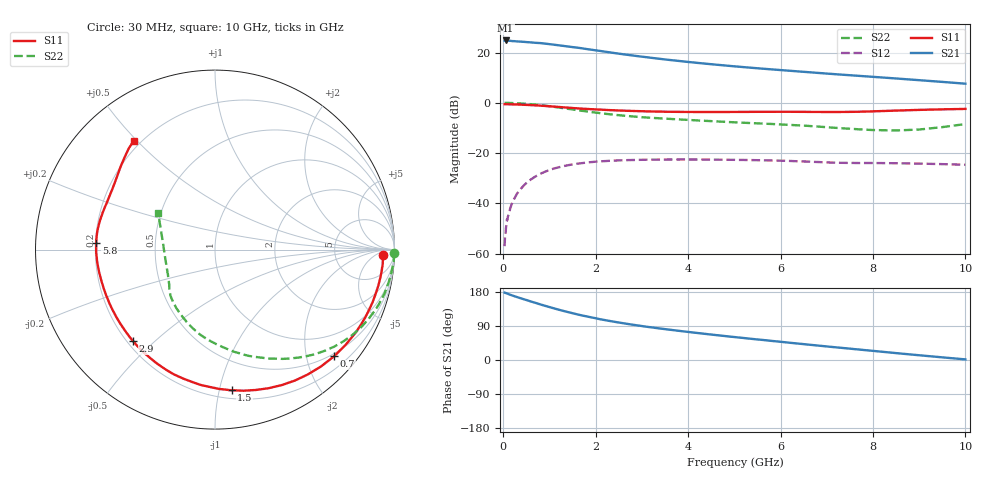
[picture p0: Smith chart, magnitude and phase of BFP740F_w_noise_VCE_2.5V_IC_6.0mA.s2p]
! Infineon Technologies  Discrete & RF Semiconductors
! BFP740F
! VCE =  2.5 V,  IC =  6.0 mA
! Common Emitter S-Parameters:  Oct 2012
# GHz  S  MA  R  50
!  f  S11  S21  S12  S22
! GHz  MAG  ANG  MAG  ANG  MAG  ANG  MAG  ANG
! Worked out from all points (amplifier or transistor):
!   99 points, 30 MHz to 10 GHz, reference 50 ohm
!   highest |S21| = 24.8 dB at 50 MHz (marker M1)
!   |S21| within 3 dB of that: start of sweep to 1.655 GHz
!   unconditionally stable (mu >= 1): 7.251 GHz to end of sweep
!   at 350 MHz: K = 0.05, MSG = 29.7 dB, |S12| = -34.9 dB
!   at 3.5 GHz: K = 0.37, MSG = 19.9 dB, |S12| = -22.6 dB
!   at 10 GHz: K = 1.30, MAG = 12.9 dB, |S12| = -24.7 dB
!   lowest NFmin = 0.39 dB at 450 MHz
!   S11 on the Smith chart (normalised r, x): 30 MHz: 25, -13; 700 MHz: 0.44, -2.55; 1.5 GHz: 0.26, -1.09; 2.9 GHz: 0.22, -0.43; 5.8 GHz: 0.20, +0.03; 10 GHz: 0.17, +0.49
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0.03  0.9384 -1.9  17.31 177.7  0.0014 93.7  0.9976 -1.2
0.05  0.9381 -3.1  17.46 177.0  0.0024 85.7  0.9975 -2.1
0.08  0.938 -5.0  17.39 175.6  0.0048 95.1  0.9979 -3.4
0.15  0.9347 -9.4  17.18 172.3  0.0079 86.0  0.9928 -6.3
0.35  0.9217 -21.4  16.62 164.0  0.018 77.4  0.9757 -14.5
0.6  0.9006 -36.1  15.98 154.3  0.0299 68.7  0.9389 -24.3
0.7  0.8911 -41.8  15.67 150.7  0.0343 65.3  0.9214 -28.1
0.9  0.8672 -53.2  15.13 143.2  0.0424 58.8  0.8795 -35.5
1.1  0.8416 -63.7  14.36 136.2  0.0493 52.3  0.8322 -42.6
1.3  0.8144 -73.8  13.61 129.6  0.0549 46.8  0.7839 -49.2
1.5  0.7892 -83.3  12.88 123.5  0.0594 41.7  0.7377 -55.3
1.7  0.7654 -92.4  12.19 117.7  0.063 37.1  0.6941 -61.1
2.1  0.7323 -108.0  10.79 107.5  0.0684 29.0  0.6224 -72.2
2.3  0.7169 -114.7  10.14 103.1  0.0701 25.6  0.5925 -76.9
2.9  0.6846 -131.7  8.526 91.4  0.0731 17.5  0.5274 -89.1
3.4  0.6683 -143.3  7.495 83.0  0.0742 12.1  0.4909 -97.4
4.1  0.6581 -157.1  6.389 72.7  0.0744 6.1  0.4516 -106.6
5.1  0.6597 -173.6  5.242 59.3  0.073 -0.8  0.4052 -118.8
5.8  0.6629 176.6  4.642 50.5  0.0713 -4.9  0.3799 -127.1
6.7  0.659 163.2  4.013 39.4  0.0668 -8.8  0.3419 -137.7
8.5  0.7009 138.5  3.056 18.2  0.0627 -10.3  0.2816 -173.4
10  0.7569 126.6  2.405 1.6  0.0585 -12.3  0.3779 147.0
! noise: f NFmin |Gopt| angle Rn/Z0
0.45  0.39  0.32  6  0.21
0.9  0.44  0.32  12  0.18
1.5  0.51  0.32  24  0.14
1.9  0.55  0.31  32  0.13
2.4  0.62  0.3  41  0.12
3.5  0.75  0.27  66  0.11
5.5  0.99  0.17  113  0.19
10  1.49  0.4  -125  0.07
